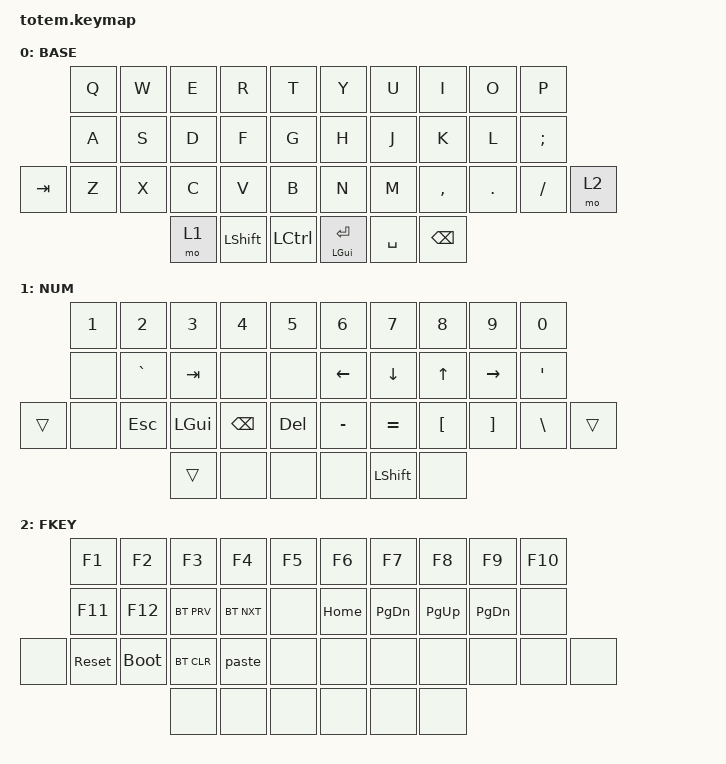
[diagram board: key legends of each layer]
//
//                                                        ▀▀▀▀▀     ▀▀▀▀▀          ▀▀█▀▀
//                                                        ▄▀▀▀▄  ▄  ▄▀▀▀▄  ▄  ▄▀▀▀▄  █  ▄▀▀▀▄
//                                                        █   █  █  █   █  █  █   █  █  █   █
//                                                         ▀▀▀   █   ▀▀▀   █   ▀▀▀   ▀   ▀▀▀
//                                                               █      ▄▄▄█▄▄▄    █   █  
//                                                               ▀      █  █  █     █▄█
//                                                             ▀▀▀▀▀    █  █  █      ▀
//                                                                      ▀  ▀  ▀
//
// ▄▄▄▄▄▄▄▄▄▄▄▄▄▄▄▄▄▄▄▄▄▄▄▄▄▄▄▄▄▄▄▄▄▄▄▄▄▄▄▄▄▄▄▄▄▄▄▄▄▄▄▄▄▄▄▄▄▄▄▄▄▄▄▄▄▄▄▄▄▄▄▄▄▄▄▄▄▄▄▄▄▄▄▄▄▄▄▄▄▄▄▄▄▄▄▄▄▄▄▄▄▄▄▄▄▄▄▄▄▄▄▄▄▄▄▄▄▄▄▄▄▄▄▄▄▄▄▄▄▄▄▄▄▄▄▄▄▄▄▄▄▄▄▄▄▄▄▄▄

#include <behaviors.dtsi>
#include <dt-bindings/zmk/bt.h>
#include <dt-bindings/zmk/keys.h>

#define BASE 0
#define NUM  1
#define FKEY 2

&mt {
    quick-tap-ms = <100>;
    global-quick-tap;
    flavor = "tap-preferred";
    tapping-term-ms = <170>;
};

/ {
    combos {
        compatible = "zmk,combos";

        combo_esc {
            timeout-ms = <50>;
            key-positions = <0 1>;
            bindings = <&kp ESC>;
        };
    };

    macros {
        paste: paste {
            label = "paste";
            compatible = "zmk,behavior-macro";
            #binding-cells = <0>;
            bindings =
                <&macro_press>,
                <&kp LCTRL>,
                <&macro_press>,
                <&kp LSHIFT>,
                <&macro_tap>,
                <&kp V>,
                <&macro_release>,
                <&kp LCTRL>,
                <&macro_release>,
                <&kp LSHIFT>;
        };
    };

    keymap {
        compatible = "zmk,keymap";

        // ▄▄▄▄▄▄▄▄▄▄▄▄▄▄▄▄▄▄▄▄▄▄▄▄▄▄▄▄▄▄▄▄▄▄▄▄▄▄▄▄▄▄▄▄▄▄▄▄▄▄▄▄▄▄▄▄▄▄▄▄▄▄▄▄▄▄▄▄▄▄▄▄▄▄▄▄▄▄▄▄▄▄▄▄▄▄▄▄▄▄▄▄▄▄▄▄▄▄▄▄▄▄▄▄▄▄▄▄▄▄▄▄▄▄▄▄▄▄▄▄▄▄▄▄▄▄▄▄▄▄▄▄▄▄▄▄▄▄▄▄▄▄▄▄▄▄▄▄▄

        base_layer {
            // ┏━━━━━━━━━━━━━━━━━━━━━━━━━━━━━━━━━━━━━━━┓

            label = "BASE";

            // ┗━━━━━━━━━━━━━━━━━━━━━━━━━━━━━━━━━━━━━━━┛
            //             ┏━━━━━━━━━━━┳━━━━━━━━━━━┳━━━━━━━━━━━┳━━━━━━━━━━━┳━━━━━━━━━━━┓   ┏━━━━━━━━━━━┳━━━━━━━━━━━┳━━━━━━━━━━━┳━━━━━━━━━━━┳━━━━━━━━━━━┓
            //             ┃     Q     ┃     W     ┃     E     ┃     R     ┃     T     ┃   ┃     Y     ┃     U     ┃     I     ┃     O     ┃     P     ┃
            //             ┣━━━━━━━━━━━╋━━━━━━━━━━━╋━━━━━━━━━━━╋━━━━━━━━━━━╋━━━━━━━━━━━┫   ┣━━━━━━━━━━━╋━━━━━━━━━━━╋━━━━━━━━━━━╋━━━━━━━━━━━╋━━━━━━━━━━━┫
            //             ┃     A     ┃     S     ┃     D     ┃     F     ┃     G     ┃   ┃     H     ┃     J     ┃     K     ┃     L     ┃     ;     ┃
            // ┏━━━━━━━━━━━╋━━━━━━━━━━━╋━━━━━━━━━━━╋━━━━━━━━━━━╋━━━━━━━━━━━╋━━━━━━━━━━━┫   ┣━━━━━━━━━━━╋━━━━━━━━━━━╋━━━━━━━━━━━╋━━━━━━━━━━━╋━━━━━━━━━━━╋━━━━━━━━━━━┓
            // ┃   TAB     ┃     Z     ┃     X     ┃     C     ┃     V     ┃     B     ┃   ┃     N     ┃     M     ┃     ,     ┃     .     ┃     /     ┃   LYR 2   ┃
            // ┗━━━━━━━━━━━┻━━━━━━━━━━━┻━━━━━━━━━━━╋━━━━━━━━━━━╋━━━━━━━━━━━╋━━━━━━━━━━━┫   ┣━━━━━━━━━━━╋━━━━━━━━━━━╋━━━━━━━━━━━╋━━━━━━━━━━━┻━━━━━━━━━━━┻━━━━━━━━━━━┛
            //                                     ┃   LYR 1   ┃   SHIFT   ┃    CTRL   ┃   ┃   ENTER   ┃   SPACE   ┃   BSPC    ┃
            //                                     ┗━━━━━━━━━━━┻━━━━━━━━━━━┻━━━━━━━━━━━┛   ┗━━━━━━━━━━━┻━━━━━━━━━━━┻━━━━━━━━━━━┛

            bindings = <
         &kp Q  &kp W  &kp E  &kp R       &kp T        &kp Y         &kp U      &kp I      &kp O    &kp P
         &kp A  &kp S  &kp D  &kp F       &kp G        &kp H         &kp J      &kp K      &kp L    &kp SEMI
&kp TAB  &kp Z  &kp X  &kp C  &kp V       &kp B        &kp N         &kp M      &kp COMMA  &kp DOT  &kp FSLH  &mo 2
                       &mo 1  &kp LSHIFT  &kp LCTRL    &mt LGUI RET  &kp SPACE  &kp BSPC
            >;
        };

        // ▄▄▄▄▄▄▄▄▄▄▄▄▄▄▄▄▄▄▄▄▄▄▄▄▄▄▄▄▄▄▄▄▄▄▄▄▄▄▄▄▄▄▄▄▄▄▄▄▄▄▄▄▄▄▄▄▄▄▄▄▄▄▄▄▄▄▄▄▄▄▄▄▄▄▄▄▄▄▄▄▄▄▄▄▄▄▄▄▄▄▄▄▄▄▄▄▄▄▄▄▄▄▄▄▄▄▄▄▄▄▄▄▄▄▄▄▄▄▄▄▄▄▄▄▄▄▄▄▄▄▄▄▄▄▄▄▄▄▄▄▄▄▄▄▄▄▄▄▄

        num_layer {
            // ┏━━━━━━━━━━━━━━━━━━━━━━━━━━━━━━━━━━━━━━━┓

            label = "NUM";

            // ┗━━━━━━━━━━━━━━━━━━━━━━━━━━━━━━━━━━━━━━━┛
            //             ┏━━━━━━━━━━━┳━━━━━━━━━━━┳━━━━━━━━━━━┳━━━━━━━━━━━┳━━━━━━━━━━━┓   ┏━━━━━━━━━━━┳━━━━━━━━━━━┳━━━━━━━━━━━┳━━━━━━━━━━━┳━━━━━━━━━━━┓
            //             ┃     1     ┃     2     ┃     3     ┃     4     ┃     5     ┃   ┃     6     ┃     7     ┃     8     ┃     9     ┃     0     ┃
            //             ┣━━━━━━━━━━━╋━━━━━━━━━━━╋━━━━━━━━━━━╋━━━━━━━━━━━╋━━━━━━━━━━━┫   ┣━━━━━━━━━━━╋━━━━━━━━━━━╋━━━━━━━━━━━╋━━━━━━━━━━━╋━━━━━━━━━━━┫
            //             ┃           ┃    `~     ┃    TAB    ┃           ┃           ┃   ┃    LEFT   ┃    DOWN   ┃     UP    ┃   RIGHT   ┃     '     ┃
            // ┏━━━━━━━━━━━╋━━━━━━━━━━━╋━━━━━━━━━━━╋━━━━━━━━━━━╋━━━━━━━━━━━╋━━━━━━━━━━━┫   ┣━━━━━━━━━━━╋━━━━━━━━━━━╋━━━━━━━━━━━╋━━━━━━━━━━━╋━━━━━━━━━━━╋━━━━━━━━━━━┓
            // ┃           ┃           ┃    ESC    ┃    LGUI   ┃   BKSPC   ┃    DEL    ┃   ┃     _     ┃     =     ┃     [     ┃     ]     ┃     \     ┃           ┃
            // ┗━━━━━━━━━━━┻━━━━━━━━━━━┻━━━━━━━━━━━╋━━━━━━━━━━━╋━━━━━━━━━━━╋━━━━━━━━━━━┫   ┣━━━━━━━━━━━╋━━━━━━━━━━━╋━━━━━━━━━━━╋━━━━━━━━━━━┻━━━━━━━━━━━┻━━━━━━━━━━━┛
            //                                     ┃           ┃           ┃           ┃   ┃           ┃   SHIFT   ┃           ┃
            //                                     ┗━━━━━━━━━━━┻━━━━━━━━━━━┻━━━━━━━━━━━┛   ┗━━━━━━━━━━━┻━━━━━━━━━━━┻━━━━━━━━━━━┛

            bindings = <
        &kp N1  &kp N2     &kp N3    &kp N4    &kp N5     &kp N6     &kp N7      &kp N8    &kp N9     &kp N0
        &none   &kp GRAVE  &kp TAB   &none     &none      &kp LEFT   &kp DOWN    &kp UP    &kp RIGHT  &kp SQT
&trans  &none   &kp ESC    &kp LGUI  &kp BSPC  &kp DEL    &kp MINUS  &kp EQUAL   &kp LBKT  &kp RBKT   &kp BSLH  &trans
                           &trans    &none     &none      &none      &kp LSHIFT  &none
            >;
        };

        // ▄▄▄▄▄▄▄▄▄▄▄▄▄▄▄▄▄▄▄▄▄▄▄▄▄▄▄▄▄▄▄▄▄▄▄▄▄▄▄▄▄▄▄▄▄▄▄▄▄▄▄▄▄▄▄▄▄▄▄▄▄▄▄▄▄▄▄▄▄▄▄▄▄▄▄▄▄▄▄▄▄▄▄▄▄▄▄▄▄▄▄▄▄▄▄▄▄▄▄▄▄▄▄▄▄▄▄▄▄▄▄▄▄▄▄▄▄▄▄▄▄▄▄▄▄▄▄▄▄▄▄▄▄▄▄▄▄▄▄▄▄▄▄▄▄▄▄▄▄

        fkey_layer {
            // ┏━━━━━━━━━━━━━━━━━━━━━━━━━━━━━━━━━━━━━━━┓

            label = "FKEY";

            // ┗━━━━━━━━━━━━━━━━━━━━━━━━━━━━━━━━━━━━━━━┛
            //             ┏━━━━━━━━━━━┳━━━━━━━━━━━┳━━━━━━━━━━━┳━━━━━━━━━━━┳━━━━━━━━━━━┓   ┏━━━━━━━━━━━┳━━━━━━━━━━━┳━━━━━━━━━━━┳━━━━━━━━━━━┳━━━━━━━━━━━┓
            //             ┃    F1     ┃    F2     ┃    F3     ┃    F4     ┃    F5     ┃   ┃    F6     ┃    F7     ┃    F8     ┃     F9    ┃    F10    ┃
            //             ┣━━━━━━━━━━━╋━━━━━━━━━━━╋━━━━━━━━━━━╋━━━━━━━━━━━╋━━━━━━━━━━━┫   ┣━━━━━━━━━━━╋━━━━━━━━━━━╋━━━━━━━━━━━╋━━━━━━━━━━━╋━━━━━━━━━━━┫
            //             ┃    F11    ┃    F12    ┃  BT PREV  ┃  BT NEXT  ┃           ┃   ┃   HOME    ┃  PG DOWN  ┃   PG UP   ┃    END    ┃           ┃
            // ┏━━━━━━━━━━━╋━━━━━━━━━━━╋━━━━━━━━━━━╋━━━━━━━━━━━╋━━━━━━━━━━━╋━━━━━━━━━━━┫   ┣━━━━━━━━━━━╋━━━━━━━━━━━╋━━━━━━━━━━━╋━━━━━━━━━━━╋━━━━━━━━━━━╋━━━━━━━━━━━┓
            // ┃           ┃   RESET   ┃ BOOTLOAD  ┃  BT CLEAR ┃   PASTE   ┃           ┃   ┃           ┃           ┃           ┃           ┃           ┃           ┃
            // ┗━━━━━━━━━━━┻━━━━━━━━━━━┻━━━━━━━━━━━╋━━━━━━━━━━━╋━━━━━━━━━━━╋━━━━━━━━━━━┫   ┣━━━━━━━━━━━╋━━━━━━━━━━━╋━━━━━━━━━━━╋━━━━━━━━━━━┻━━━━━━━━━━━┻━━━━━━━━━━━┛
            //                                     ┃           ┃           ┃           ┃   ┃           ┃           ┃           ┃
            //                                     ┗━━━━━━━━━━━┻━━━━━━━━━━━┻━━━━━━━━━━━┛   ┗━━━━━━━━━━━┻━━━━━━━━━━━┻━━━━━━━━━━━┛

            bindings = <
       &kp F1      &kp F2       &kp F3      &kp F4      &kp F5    &kp F6    &kp F7     &kp F8     &kp F9     &kp F10
       &kp F11     &kp F12      &bt BT_PRV  &bt BT_NXT  &none     &kp HOME  &kp PG_DN  &kp PG_UP  &kp PG_DN  &none
&none  &sys_reset  &bootloader  &bt BT_CLR  &paste      &none     &none     &none      &none      &none      &none    &none
                                &none       &none       &none     &none     &none      &none
            >;
        };
    };
};

